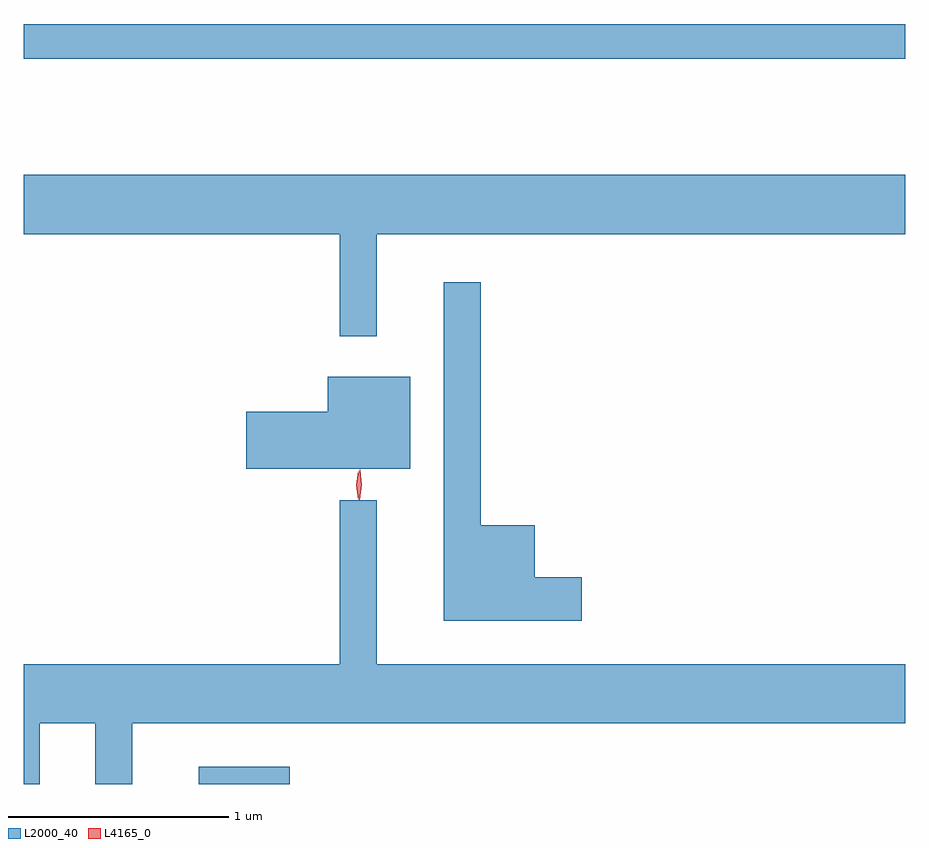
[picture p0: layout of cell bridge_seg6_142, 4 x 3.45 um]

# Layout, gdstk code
import gdstk
lib = gdstk.Library(unit=1e-6, precision=1e-09)
def R(c, l, rs):  # rectangles x0, y0, x1, y1
    for r in rs: c.add(gdstk.rectangle(r[:2], r[2:], *l))
def P(c, l, *ps):  # polygons
    for p in ps: c.add(gdstk.Polygon(p, *l))
L2000_40 = (2000, 40)
L4165_0 = (4165, 0)

bridge_seg6_142 = lib.new_cell('bridge_seg6_142')
R(bridge_seg6_142, L2000_40, [(1026.491,1611.921,1026.904,1611.999), (1025.696,1615.211,1029.696,1615.369)])
P(bridge_seg6_142, L2000_40, [(1027.299,1614.416),(1029.696,1614.416),(1029.696,1614.684),(1025.696,1614.684),(1025.696,1614.416),(1027.131,1614.416),(1027.131,1613.953),(1027.299,1613.953)],
  [(1028.229,1612.859),(1028.014,1612.859),(1028.014,1613.094),(1027.769,1613.094),(1027.769,1614.198),(1027.601,1614.198),(1027.601,1612.661),(1028.229,1612.661)],
  [(1027.449,1613.769),(1027.076,1613.769),(1027.076,1613.609),(1026.706,1613.609),(1026.706,1613.351),(1027.449,1613.351)],
  [(1025.769,1612.196),(1026.021,1612.196),(1026.021,1611.921),(1026.189,1611.921),(1026.189,1612.196),(1029.696,1612.196),(1029.696,1612.464),(1027.299,1612.464),(1027.299,1613.208),(1027.131,1613.208),(1027.131,1612.464),(1025.696,1612.464),(1025.696,1611.921),(1025.769,1611.921)])
P(bridge_seg6_142, L4165_0, [(1027.22,1613.209),(1027.219,1613.21),(1027.21,1613.278),(1027.221,1613.346),(1027.221,1613.346),(1027.222,1613.346),(1027.23,1613.278),(1027.22,1613.21)],
  [(1027.215,1613.213),(1027.214,1613.214),(1027.204,1613.276),(1027.213,1613.339),(1027.214,1613.34),(1027.214,1613.339),(1027.224,1613.276),(1027.215,1613.214)])

lib.write_gds('bridge_seg6_142.gds')
